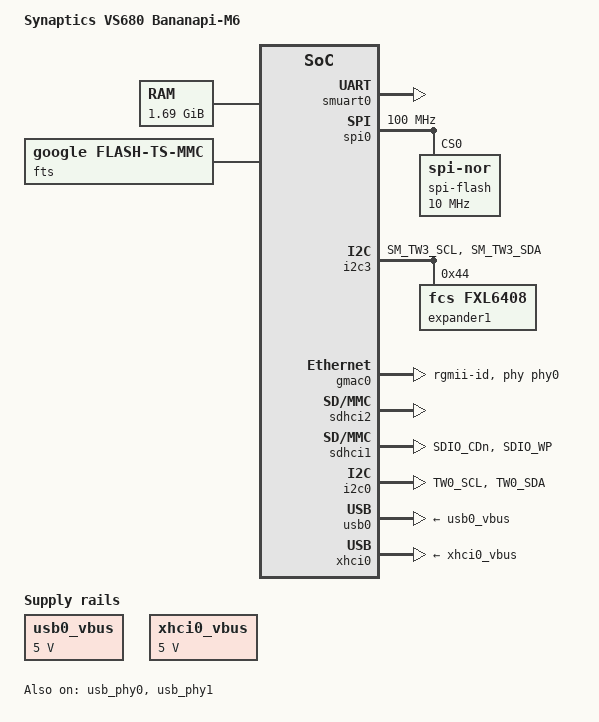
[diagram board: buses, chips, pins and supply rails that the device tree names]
/* SPDX-License-Identifier: GPL-2.0+ */
/*
 * Copyright (C) 2019 Synaptics Incorporated
 *
 * Author: Shaojun Feng <Shaojun.Feng@synaptics.com>
 *
 */

/dts-v1/;

#include "vs680.dtsi"
#include "include/dt-bindings/gpio/gpio.h"

/ {
	model = "Synaptics VS680 Bananapi-M6";
	compatible = "Synaptics,vs680", "Synaptics,asserial";

	memory {
		device_type = "memory";
		reg = <0 0x4a00000 0 0x6c200000>;
	};

	fts {
		compatible = "google,flash-ts-mmc";
	};

	chosen {
        stdout-path = &smuart0;
    };

	regulators {
		compatible = "simple-bus";
		#address-cells = <1>;
		#size-cells = <0>;

		usb0_vbus: regulator@0 {
			compatible = "regulator-fixed";
			regulator-name = "usb0_vbus";
			regulator-min-microvolt = <5000000>;
			regulator-max-microvolt = <5000000>;
			// gpio = <&expander0 3 GPIO_ACTIVE_HIGH>;
			enable-active-high;
		};

		xhci0_vbus: xhci0_vbus {
			compatible = "regulator-fixed";
			regulator-name = "xhci0_vbus";
			regulator-min-microvolt = <5000000>;
			regulator-max-microvolt = <5000000>;
			// gpio = <&expander0 2 GPIO_ACTIVE_HIGH>;
			enable-active-high;
		};
	};
};

&sysmgr_pinctrl {
	sm_i2c_tw3_pmux: sm_i2c_tw3_pmux {
		groups = "SM_TW3_SCL", "SM_TW3_SDA";
		function = "tw3";
	};
};

&pinctrl {
	emmc_pmux: emmc-pmux {
		groups = "NAND_IO0", "NAND_IO1", "NAND_IO2", "NAND_IO3", "NAND_IO4", "NAND_IO5", "ND_IO6", "NAND_IO7", "NAND_ALE", "NAND_CLE", "NAND_WPn";
		function = "emmc";
    };

	usb_vbus_pmux: usb_vbus_pmux {
		groups = "USB2_DRV_VBUS";
		function = "gpio";
	};

	i2c_tw0_pmux: i2c_tw0_pmux {
		groups = "TW0_SCL", "TW0_SDA";
		function = "tw0";
	};
	sdhci1_pmux: sdhci1_pmux{
		groups = "SDIO_CDn", "SDIO_WP";
		function = "sdio";
	};
};

&CPU_SLEEP_0 {
	status = "disabled";
};

&smuart0 {
	status = "okay";
};

&spi0 {
	status = "okay";
	max-write-size = <128>;
	clock-frequency = <100000000>;
	spi-flash@0 {
		#address-cells = <1>;
		#size-cells = <1>;
		compatible = "jedec,spi-nor";
		reg = <0>;
		memory-map = <0x0 0xf0000000 0x0 0x4000000>;
		spi-max-frequency = <10000000>;
        };
};

&phy0 {
	reg = <0>;
};

&i2c3 {
	status = "okay";
	pinctrl-names = "default";
	pinctrl-0 = <&sm_i2c_tw3_pmux>;
	// expander0: gpio@43 {
	// 	compatible = "fcs,fxl6408";
	// 	reg = <0x43>;
	// 	gpio-controller;
	// 	#gpio-cells = <2>;
	// };
	expander1: gpio@44 {
		compatible = "fcs,fxl6408";
		reg = <0x44>;
		gpio-controller;
		#gpio-cells = <2>;
	};
};

&gmac0 {
	status = "okay";
	max-speed = <1000>;
	phy-mode = "rgmii-id";
	phy-handle = <&phy0>;
	phy = <&phy0>;
	//snps,reset-gpio = <&expander1 0 GPIO_ACTIVE_LOW>;
	snps,reset-active-low;
	snps,reset-delays-us = <0 10000 50000>;
};

&sdhci2 {
	status = "okay";
	max-frequency = <50000000>;
	cap-mmc-highspeed;
	1_8v-signalling;
};

&sdhci1 {
	status="okay";
	pinctrl-0 = <&sdhci1_pmux>;
	pinctrl-names = "default";
	// snps,select-sd-gpio = <&expander0 0 GPIO_ACTIVE_HIGH>;
	cap-sd-highspeed;
	sd-uhs-sdr12;
	sd-uhs-sdr25;
	sd-uhs-sdr50;
	sd-uhs-sdr104;
	no-sdio;
	no-mmc;
	3_3v-signalling;
	phy-setting = <0x304 0 0x7 0x2>, <0x304 16 0x7 0x2>, <0x308 0 0x7 0x0>, <0x308 16 0x7 0x2>, <0x30C 0 0x7 0x2>,
	<0x304 3 0x3 0x1>, <0x304 19 0x3 0x1>, <0x308 3 0x3 0x0>, <0x308 19 0x3 0x2>, <0x30C 3 0x3 0x1>,
	<0x304 5 0xF 0x3>, <0x304 21 0xF 0x3>, <0x308 5 0xF 0x3>, <0x308 21 0xF 0x3>, <0x30C 5 0xF 0x3>,
	<0x304 9 0xF 0x2>, <0x304 25 0xF 0x2>, <0x308 9 0xF 0x2>, <0x308 25 0xF 0x2>, <0x30C 9 0xF 0x2>;
};

&i2c0 {
	status = "okay";
	pinctrl-names = "default";
	pinctrl-0 = <&i2c_tw0_pmux>;
};

&usb_phy0 {
	status = "okay";
};

&usb0 {
	vbus-supply = <&usb0_vbus>;
	status = "okay";
};

&usb_phy1 {
	status = "okay";
};

&xhci0 {
	vbus-supply = <&xhci0_vbus>;
	// snps,reset-gpio = <&expander0 0 GPIO_ACTIVE_HIGH>;
	// snps,reset-active-high;
	status = "okay";
};
